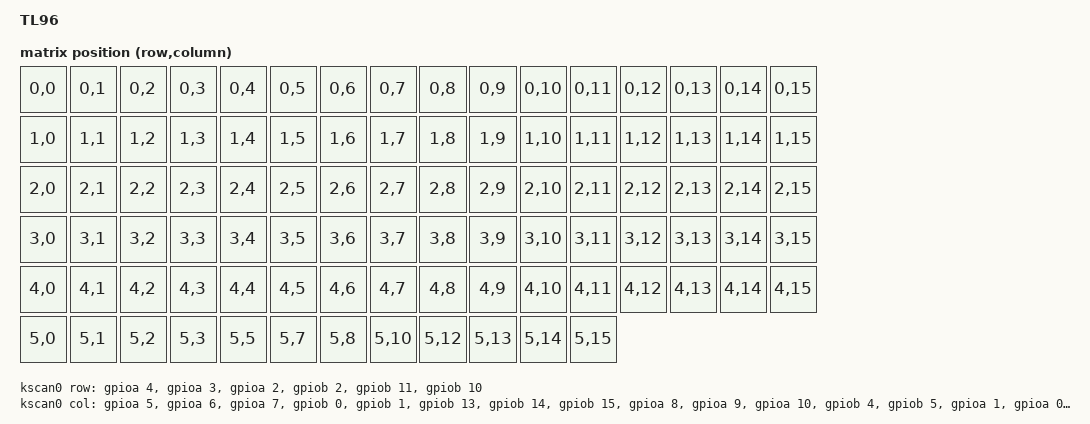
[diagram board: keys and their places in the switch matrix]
/*
 * Copyright (c) 2026 bvbhu
 *
 * SPDX-License-Identifier: MIT
 */

/dts-v1/;

#include <st/f0/stm32f072Xb.dtsi>
#include <st/f0/stm32f072c(8-b)tx-pinctrl.dtsi>
#include <dt-bindings/zmk/matrix_transform.h>
#include <dt-bindings/led/led.h>

/ {
    model = "TL96";
    compatible = "talo,tl96";

    chosen {
        zephyr,sram = &sram0;
        zephyr,flash = &flash0;
        zephyr,code-partition = &code_partition;
        zephyr,settings-partition = &storage_partition;

        zmk,kscan = &kscan0;
        zmk,matrix_transform = &default_transform;
        zmk,underglow = &led_strip;
    };

    leds {
        compatible = "gpio-leds";
    };

    kscan0: kscan {
        compatible = "zmk,kscan-gpio-matrix";
        diode-direction = "col2row";

        row-gpios
            = <&gpioa 4 (GPIO_ACTIVE_HIGH | GPIO_PULL_DOWN)>
            , <&gpioa 3 (GPIO_ACTIVE_HIGH | GPIO_PULL_DOWN)>
            , <&gpioa 2 (GPIO_ACTIVE_HIGH | GPIO_PULL_DOWN)>
            , <&gpiob 2 (GPIO_ACTIVE_HIGH | GPIO_PULL_DOWN)>
            , <&gpiob 11 (GPIO_ACTIVE_HIGH | GPIO_PULL_DOWN)>
            , <&gpiob 10 (GPIO_ACTIVE_HIGH | GPIO_PULL_DOWN)>
            ;

        col-gpios
            = <&gpioa 5 (GPIO_ACTIVE_HIGH | GPIO_PULL_DOWN)>
            , <&gpioa 6 (GPIO_ACTIVE_HIGH | GPIO_PULL_DOWN)>
            , <&gpioa 7 (GPIO_ACTIVE_HIGH | GPIO_PULL_DOWN)>
            , <&gpiob 0 (GPIO_ACTIVE_HIGH | GPIO_PULL_DOWN)>
            , <&gpiob 1 (GPIO_ACTIVE_HIGH | GPIO_PULL_DOWN)>
            , <&gpiob 13 (GPIO_ACTIVE_HIGH | GPIO_PULL_DOWN)>
            , <&gpiob 14 (GPIO_ACTIVE_HIGH | GPIO_PULL_DOWN)>
            , <&gpiob 15 (GPIO_ACTIVE_HIGH | GPIO_PULL_DOWN)>
            , <&gpioa 8 (GPIO_ACTIVE_HIGH | GPIO_PULL_DOWN)>
            , <&gpioa 9 (GPIO_ACTIVE_HIGH | GPIO_PULL_DOWN)>
            , <&gpioa 10 (GPIO_ACTIVE_HIGH | GPIO_PULL_DOWN)>
            , <&gpiob 4 (GPIO_ACTIVE_HIGH | GPIO_PULL_DOWN)>
            , <&gpiob 5 (GPIO_ACTIVE_HIGH | GPIO_PULL_DOWN)>
            , <&gpioa 1 (GPIO_ACTIVE_HIGH | GPIO_PULL_DOWN)>
            , <&gpioa 0 (GPIO_ACTIVE_HIGH | GPIO_PULL_DOWN)>
            , <&gpiob 6 (GPIO_ACTIVE_HIGH | GPIO_PULL_DOWN)>
            ;
    };

    default_transform: matrix_transform {
        compatible = "zmk,matrix-transform";
        columns = <16>;
        rows = <6>;

        map = <
            RC(0,0) RC(0,1) RC(0,2) RC(0,3) RC(0,4) RC(0,5) RC(0,6) RC(0,7) RC(0,8) RC(0,9) RC(0,10) RC(0,11) RC(0,12) RC(0,13) RC(0,14) RC(0,15)
            RC(1,0) RC(1,1) RC(1,2) RC(1,3) RC(1,4) RC(1,5) RC(1,6) RC(1,7) RC(1,8) RC(1,9) RC(1,10) RC(1,11) RC(1,12) RC(1,13) RC(1,14) RC(1,15)
            RC(2,0) RC(2,1) RC(2,2) RC(2,3) RC(2,4) RC(2,5) RC(2,6) RC(2,7) RC(2,8) RC(2,9) RC(2,10) RC(2,11) RC(2,12) RC(2,13) RC(2,14) RC(2,15)
            RC(3,0) RC(3,1) RC(3,2) RC(3,3) RC(3,4) RC(3,5) RC(3,6) RC(3,7) RC(3,8) RC(3,9) RC(3,10) RC(3,11) RC(3,12) RC(3,13) RC(3,14) RC(3,15)
            RC(4,0) RC(4,1) RC(4,2) RC(4,3) RC(4,4) RC(4,5) RC(4,6) RC(4,7) RC(4,8) RC(4,9) RC(4,10) RC(4,11) RC(4,12) RC(4,13) RC(4,14) RC(4,15)
            RC(5,0) RC(5,1) RC(5,2) RC(5,3) RC(5,5) RC(5,7) RC(5,8) RC(5,10) RC(5,12) RC(5,13) RC(5,14) RC(5,15)
        >;
    };

    /*
     * WS2812 RGB LED 灯带
     * PB12 数据引脚，96 颗 LED
     */
    led_strip: ws2812 {
        compatible = "bvbhu,ws2812-gpio-stm32";
        chain-length = <96>;
        gpios = <&gpiob 12 GPIO_ACTIVE_HIGH>;
        color-mapping = <LED_COLOR_ID_GREEN
                         LED_COLOR_ID_RED
                         LED_COLOR_ID_BLUE>;
        reset-delay = <50>;
    };
};

&clk_hsi {
    status = "okay";
};

&clk_hsi48 {
    status = "okay";
};

&pll {
    status = "okay";
    prediv = <1>;
    mul = <6>;
    clocks = <&clk_hsi>;
};

&rcc {
    clocks = <&pll>;
    clock-frequency = <DT_FREQ_M(48)>;
    ahb-prescaler = <1>;
    apb1-prescaler = <1>;
};

/*
 * USB:
 * PA11 / PA12 为固定功能引脚，
 * STM32F0 USB 使用 pinctrl 切换到 AF 模式。
 */
zephyr_udc0: &usb {
    status = "okay";
    pinctrl-0 = <&usb_dm_pa11 &usb_dp_pa12>;
    pinctrl-names = "default";

    /* 限制端点数量以降低 RAM 占用 */
    num-bidir-endpoints = <4>;
};

/*
 * STM32F072 使用 ROM DFU bootloader，
 * bootloader 位于系统存储区，不占用用户 Flash。
 *
 * Flash:
 *   0x00000 ~ 0x1BFFF : code      112 KiB
 *   0x1C000 ~ 0x1FFFF : storage    16 KiB
 */
&flash0 {
    partitions {
        compatible = "fixed-partitions";
        #address-cells = <1>;
        #size-cells = <1>;

        code_partition: partition@0 {
            label = "code";
            reg = <0x00000000 0x0001c000>;
            read-only;
        };

        storage_partition: partition@1c000 {
            label = "storage";
            reg = <0x0001c000 0x00004000>;
        };
    };
};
